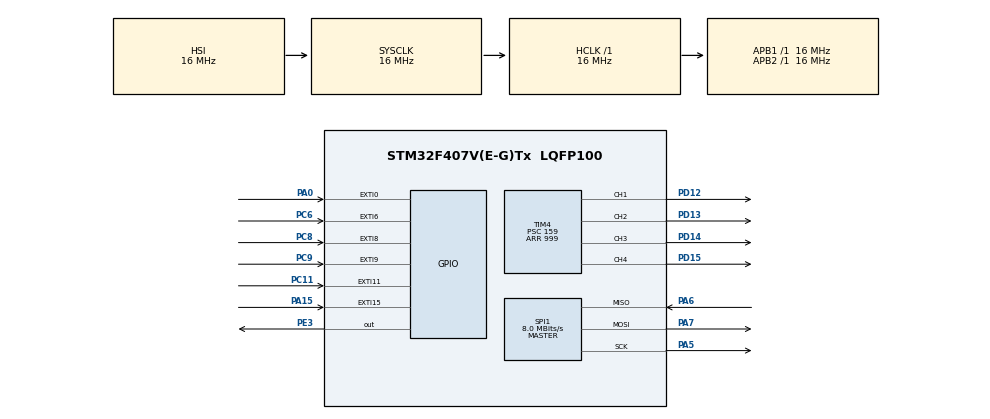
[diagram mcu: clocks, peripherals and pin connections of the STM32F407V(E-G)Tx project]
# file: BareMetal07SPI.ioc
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Mcu.Family=STM32F4
Mcu.Name=STM32F407V(E-G)Tx
Mcu.Package=LQFP100
NVIC.EXTI0_IRQn=true\:0\:0\:false\:false\:true\:true\:true\:true
NVIC.EXTI15_10_IRQn=true\:0\:0\:false\:false\:true\:true\:true\:true
NVIC.EXTI9_5_IRQn=true\:0\:0\:false\:false\:true\:true\:true\:true
NVIC.PriorityGroup=NVIC_PRIORITYGROUP_4
PA0-WKUP.GPIO_PuPd=GPIO_NOPULL
PA0-WKUP.Signal=GPXTI0
PA13.Mode=Serial_Wire
PA13.Signal=SYS_JTMS-SWDIO
PA14.Mode=Serial_Wire
PA14.Signal=SYS_JTCK-SWCLK
PA15.GPIO_PuPd=GPIO_NOPULL
PA15.Signal=GPXTI15
PA5.Mode=Full_Duplex_Master
PA5.Signal=SPI1_SCK
PA6.Mode=Full_Duplex_Master
PA6.Signal=SPI1_MISO
PA7.Mode=Full_Duplex_Master
PA7.Signal=SPI1_MOSI
PC11.GPIO_PuPd=GPIO_NOPULL
PC11.Signal=GPXTI11
PC6.GPIO_PuPd=GPIO_NOPULL
PC6.Signal=GPXTI6
PC8.GPIO_PuPd=GPIO_NOPULL
PC8.Signal=GPXTI8
PC9.GPIO_PuPd=GPIO_NOPULL
PC9.Signal=GPXTI9
PD12.Signal=S_TIM4_CH1
PD13.Signal=S_TIM4_CH2
PD14.Signal=S_TIM4_CH3
PD15.Signal=S_TIM4_CH4
PE3.PinState=GPIO_PIN_SET
PE3.Signal=GPIO_Output
ProjectManager.HeapSize=0x200
ProjectManager.StackSize=0x400
ProjectManager.TargetToolchain=STM32CubeIDE
RCC.AHBFreq_Value=16000000
RCC.APB1Freq_Value=16000000
RCC.APB2Freq_Value=16000000
RCC.CortexFreq_Value=16000000
RCC.HSE_VALUE=25000000
RCC.HSI_VALUE=16000000
RCC.LSE_VALUE=32768
RCC.SYSCLKFreq_VALUE=16000000
RCC.VCOOutputFreq_Value=192000000
SH.S_TIM4_CH1.0=TIM4_CH1,PWM Generation1 CH1
SH.S_TIM4_CH2.0=TIM4_CH2,PWM Generation2 CH2
SH.S_TIM4_CH3.0=TIM4_CH3,PWM Generation3 CH3
SH.S_TIM4_CH4.0=TIM4_CH4,PWM Generation4 CH4
SPI1.CalculateBaudRate=8.0 MBits/s
SPI1.Direction=SPI_DIRECTION_2LINES
SPI1.Mode=SPI_MODE_MASTER
SPI1.VirtualType=VM_MASTER
TIM1.Period=999
TIM1.Prescaler=159
TIM4.Channel-PWM\ Generation1\ CH1=TIM_CHANNEL_1
TIM4.Channel-PWM\ Generation2\ CH2=TIM_CHANNEL_2
TIM4.Channel-PWM\ Generation3\ CH3=TIM_CHANNEL_3
TIM4.Channel-PWM\ Generation4\ CH4=TIM_CHANNEL_4
TIM4.Period=999
TIM4.Prescaler=159
VP_TIM1_VS_ClockSourceINT.Mode=Internal
VP_TIM4_VS_ClockSourceINT.Mode=Internal
board=custom

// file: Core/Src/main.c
/* USER CODE BEGIN Header */
/**
  ******************************************************************************
  * @file           : main.c
  * @brief          : Main program body
  ******************************************************************************
  * @attention
  *
  * Copyright (c) 2026 STMicroelectronics.
  * All rights reserved.
  *
  * This software is licensed under terms that can be found in the LICENSE file
  * in the root directory of this software component.
  * If no LICENSE file comes with this software, it is provided AS-IS.
  *
  ******************************************************************************
  */
/* USER CODE END Header */
#include "main.h"

/* USER CODE BEGIN Includes */

#include "lis3dsh.h"

/* USER CODE END Includes */

SPI_HandleTypeDef hspi1;

TIM_HandleTypeDef htim1;
TIM_HandleTypeDef htim4;

void SystemClock_Config(void);
static void MX_GPIO_Init(void);
static void MX_SPI1_Init(void);
static void MX_TIM1_Init(void);
static void MX_TIM4_Init(void);

int main(void)
{

  /* MCU Configuration--------------------------------------------------------*/

  /* Reset of all peripherals, Initializes the Flash interface and the Systick. */
  HAL_Init();

  /* Configure the system clock */
  SystemClock_Config();

  /* Initialize all configured peripherals */
  MX_GPIO_Init();
  MX_SPI1_Init();
  MX_TIM1_Init();
  MX_TIM4_Init();
  /* USER CODE BEGIN 2 */

  LIS3DSH_Init(&hspi1);

  int16_t x, y, z; // not unsigned uint, because the LIS3DSH range seems to be [-2g, 2g] (if I'm understanding +/-2g in the data sheet correctly)

  uint16_t threshold = 2000, deadzone = 200; // completely arbitrary
  int16_t turn_on_boundary = threshold + deadzone, turn_off_boundary = threshold - deadzone; // helpers

  int16_t max_tilt = 16000; // roughly 1g
  float tilt_amount, tilt_range, led_min = 10, led_max = 1000; // 1-1000 (actually 0-999) is set in the .ioc
  uint16_t pwm_value;

  HAL_TIM_PWM_Start(&htim4, TIM_CHANNEL_1); // green / left (PD12)
  HAL_TIM_PWM_Start(&htim4, TIM_CHANNEL_2); // orange / up (PD13)
  HAL_TIM_PWM_Start(&htim4, TIM_CHANNEL_3); // red / right (PD14)
  HAL_TIM_PWM_Start(&htim4, TIM_CHANNEL_4); // blue / down (PD15)

  /* USER CODE END 2 */

  /* Infinite loop */
  /* USER CODE BEGIN WHILE */
  while (1)
  {
	  // Everything's being done in the while loop, because the assignment specified "Continuously read the raw X-axis and Y-axis acceleration data"
	  // but this definitely could be done through interrupts instead of polling like this
	  LIS3DSH_ReadXYZ(&x, &y, &z);

	  // if these needed to be turned into exact angles rather than values, then I looked through these 2 threads that seemed very informative
	  // https://forum.arduino.cc/t/sensing-tilt-using-accelerometer-alone/135717/6
	  // https://stackoverflow.com/questions/72946477/trigonometry-calculate-tilt-angle-from-accelerometer-data
	  // but it doesn't seem like that's necessary for this assignment, and would just add a bunch of additional complexity

	  // --- Left - Right

	  // only changes state if it goes far enough over the threshold (to avoid flickering back and forth)
	  if (x > turn_on_boundary) {
		  tilt_amount = (float)(x - turn_on_boundary);
		  tilt_range = (float)(max_tilt - turn_on_boundary);

		  // map the tilt to brightness as a percentage
		  pwm_value = led_min + (uint32_t)((tilt_amount / tilt_range) * (led_max - led_min));

		  // cap at the max
		  if (pwm_value > led_max) pwm_value = led_max;

		  __HAL_TIM_SET_COMPARE(&htim4, TIM_CHANNEL_3, pwm_value); // set brightness
	  } else if (x < turn_off_boundary) {
		  __HAL_TIM_SET_COMPARE(&htim4, TIM_CHANNEL_3, 0); // disable completely
      }

	  if (x < -turn_on_boundary) {
		// same as above, but with signs flipped, since X is negative here
		tilt_amount = (float)(-(x) - turn_on_boundary);
		tilt_range = (float)(max_tilt - turn_on_boundary);

		pwm_value = led_min + (uint32_t)((tilt_amount / tilt_range) * (led_max - led_min));
		if (pwm_value > led_max) pwm_value = led_max;

		__HAL_TIM_SET_COMPARE(&htim4, TIM_CHANNEL_1, pwm_value);
	  } else if (x > -turn_off_boundary) {
		__HAL_TIM_SET_COMPARE(&htim4, TIM_CHANNEL_1, 0);
	  }

	  // --- Up - Down

	  if (y > turn_on_boundary) {
		 tilt_amount = (float)(y - turn_on_boundary);
		 tilt_range = (float)(max_tilt - turn_on_boundary);

		 pwm_value = led_min + (uint32_t)((tilt_amount / tilt_range) * (led_max - led_min));

		 if (pwm_value > led_max) pwm_value = led_max;

		 __HAL_TIM_SET_COMPARE(&htim4, TIM_CHANNEL_2, pwm_value);
	  } else if (y < turn_off_boundary) {
		 __HAL_TIM_SET_COMPARE(&htim4, TIM_CHANNEL_2, 0);
	  }

	  if (y < -turn_on_boundary) {
		tilt_amount = (float)(-(y) - turn_on_boundary);
		tilt_range = (float)(max_tilt - turn_on_boundary);

		pwm_value = led_min + (uint32_t)((tilt_amount / tilt_range) * (led_max - led_min));
		if (pwm_value > led_max) pwm_value = led_max;

		__HAL_TIM_SET_COMPARE(&htim4, TIM_CHANNEL_4, pwm_value);
	  } else if (y > -turn_off_boundary) {
		__HAL_TIM_SET_COMPARE(&htim4, TIM_CHANNEL_4, 0);
	  }

	  HAL_Delay(20); // small delay so that the program isn't just polling SPI a billion times a second

	  // I *think* that instead of the timers, changing the LED brightness *could* be just done with delays / periodically turning them on/off
	  // but since we're also supposed to be reading the accelerometer data in the while loop, that wouldn't really fly
	  // since we don't want that to stop
	  // but if the accelerometer data was on interrupts, then idk maybe that would be doable
	  // though, again, that's just how I interpreted the assignment

	  // remembering the last on/off time for each LED and toggling them that way could maybe work, but would be crazy inaccurate

    /* USER CODE END WHILE */

  }
}

void SystemClock_Config(void)
{
  RCC_OscInitTypeDef RCC_OscInitStruct = {0};
  RCC_ClkInitTypeDef RCC_ClkInitStruct = {0};

  /** Configure the main internal regulator output voltage
  */
  __HAL_RCC_PWR_CLK_ENABLE();
  __HAL_PWR_VOLTAGESCALING_CONFIG(PWR_REGULATOR_VOLTAGE_SCALE1);

  /** Initializes the RCC Oscillators according to the specified parameters
  * in the RCC_OscInitTypeDef structure.
  */
  RCC_OscInitStruct.OscillatorType = RCC_OSCILLATORTYPE_HSI;
  RCC_OscInitStruct.HSIState = RCC_HSI_ON;
  RCC_OscInitStruct.HSICalibrationValue = RCC_HSICALIBRATION_DEFAULT;
  RCC_OscInitStruct.PLL.PLLState = RCC_PLL_NONE;
  if (HAL_RCC_OscConfig(&RCC_OscInitStruct) != HAL_OK)
  {
    Error_Handler();
  }

  /** Initializes the CPU, AHB and APB buses clocks
  */
  RCC_ClkInitStruct.ClockType = RCC_CLOCKTYPE_HCLK|RCC_CLOCKTYPE_SYSCLK
                              |RCC_CLOCKTYPE_PCLK1|RCC_CLOCKTYPE_PCLK2;
  RCC_ClkInitStruct.SYSCLKSource = RCC_SYSCLKSOURCE_HSI;
  RCC_ClkInitStruct.AHBCLKDivider = RCC_SYSCLK_DIV1;
  RCC_ClkInitStruct.APB1CLKDivider = RCC_HCLK_DIV1;
  RCC_ClkInitStruct.APB2CLKDivider = RCC_HCLK_DIV1;

  if (HAL_RCC_ClockConfig(&RCC_ClkInitStruct, FLASH_LATENCY_0) != HAL_OK)
  {
    Error_Handler();
  }
}

static void MX_SPI1_Init(void)
{

  /* SPI1 parameter configuration*/
  hspi1.Instance = SPI1;
  hspi1.Init.Mode = SPI_MODE_MASTER;
  hspi1.Init.Direction = SPI_DIRECTION_2LINES;
  hspi1.Init.DataSize = SPI_DATASIZE_8BIT;
  hspi1.Init.CLKPolarity = SPI_POLARITY_LOW;
  hspi1.Init.CLKPhase = SPI_PHASE_1EDGE;
  hspi1.Init.NSS = SPI_NSS_SOFT;
  hspi1.Init.BaudRatePrescaler = SPI_BAUDRATEPRESCALER_2;
  hspi1.Init.FirstBit = SPI_FIRSTBIT_MSB;
  hspi1.Init.TIMode = SPI_TIMODE_DISABLE;
  hspi1.Init.CRCCalculation = SPI_CRCCALCULATION_DISABLE;
  hspi1.Init.CRCPolynomial = 10;
  if (HAL_SPI_Init(&hspi1) != HAL_OK)
  {
    Error_Handler();
  }

}

static void MX_TIM1_Init(void)
{

  TIM_ClockConfigTypeDef sClockSourceConfig = {0};
  TIM_MasterConfigTypeDef sMasterConfig = {0};

  htim1.Instance = TIM1;
  htim1.Init.Prescaler = 159;
  htim1.Init.CounterMode = TIM_COUNTERMODE_UP;
  htim1.Init.Period = 999;
  htim1.Init.ClockDivision = TIM_CLOCKDIVISION_DIV1;
  htim1.Init.RepetitionCounter = 0;
  htim1.Init.AutoReloadPreload = TIM_AUTORELOAD_PRELOAD_DISABLE;
  if (HAL_TIM_Base_Init(&htim1) != HAL_OK)
  {
    Error_Handler();
  }
  sClockSourceConfig.ClockSource = TIM_CLOCKSOURCE_INTERNAL;
  if (HAL_TIM_ConfigClockSource(&htim1, &sClockSourceConfig) != HAL_OK)
  {
    Error_Handler();
  }
  sMasterConfig.MasterOutputTrigger = TIM_TRGO_RESET;
  sMasterConfig.MasterSlaveMode = TIM_MASTERSLAVEMODE_DISABLE;
  if (HAL_TIMEx_MasterConfigSynchronization(&htim1, &sMasterConfig) != HAL_OK)
  {
    Error_Handler();
  }

}

static void MX_TIM4_Init(void)
{

  TIM_ClockConfigTypeDef sClockSourceConfig = {0};
  TIM_MasterConfigTypeDef sMasterConfig = {0};
  TIM_OC_InitTypeDef sConfigOC = {0};

  htim4.Instance = TIM4;
  htim4.Init.Prescaler = 159;
  htim4.Init.CounterMode = TIM_COUNTERMODE_UP;
  htim4.Init.Period = 999;
  htim4.Init.ClockDivision = TIM_CLOCKDIVISION_DIV1;
  htim4.Init.AutoReloadPreload = TIM_AUTORELOAD_PRELOAD_DISABLE;
  if (HAL_TIM_Base_Init(&htim4) != HAL_OK)
  {
    Error_Handler();
  }
  sClockSourceConfig.ClockSource = TIM_CLOCKSOURCE_INTERNAL;
  if (HAL_TIM_ConfigClockSource(&htim4, &sClockSourceConfig) != HAL_OK)
  {
    Error_Handler();
  }
  if (HAL_TIM_PWM_Init(&htim4) != HAL_OK)
  {
    Error_Handler();
  }
  sMasterConfig.MasterOutputTrigger = TIM_TRGO_RESET;
  sMasterConfig.MasterSlaveMode = TIM_MASTERSLAVEMODE_DISABLE;
  if (HAL_TIMEx_MasterConfigSynchronization(&htim4, &sMasterConfig) != HAL_OK)
  {
    Error_Handler();
  }
  sConfigOC.OCMode = TIM_OCMODE_PWM1;
  sConfigOC.Pulse = 0;
  sConfigOC.OCPolarity = TIM_OCPOLARITY_HIGH;
  sConfigOC.OCFastMode = TIM_OCFAST_DISABLE;
  if (HAL_TIM_PWM_ConfigChannel(&htim4, &sConfigOC, TIM_CHANNEL_1) != HAL_OK)
  {
    Error_Handler();
  }
  if (HAL_TIM_PWM_ConfigChannel(&htim4, &sConfigOC, TIM_CHANNEL_2) != HAL_OK)
  {
    Error_Handler();
  }
  if (HAL_TIM_PWM_ConfigChannel(&htim4, &sConfigOC, TIM_CHANNEL_3) != HAL_OK)
  {
    Error_Handler();
  }
  if (HAL_TIM_PWM_ConfigChannel(&htim4, &sConfigOC, TIM_CHANNEL_4) != HAL_OK)
  {
    Error_Handler();
  }
  HAL_TIM_MspPostInit(&htim4);

}

static void MX_GPIO_Init(void)
{
  GPIO_InitTypeDef GPIO_InitStruct = {0};

  /* GPIO Ports Clock Enable */
  __HAL_RCC_GPIOE_CLK_ENABLE();
  __HAL_RCC_GPIOA_CLK_ENABLE();
  __HAL_RCC_GPIOD_CLK_ENABLE();
  __HAL_RCC_GPIOC_CLK_ENABLE();

  /*Configure GPIO pin Output Level */
  HAL_GPIO_WritePin(GPIOE, GPIO_PIN_3, GPIO_PIN_SET);

  /*Configure GPIO pin : PE3 */
  GPIO_InitStruct.Pin = GPIO_PIN_3;
  GPIO_InitStruct.Mode = GPIO_MODE_OUTPUT_PP;
  GPIO_InitStruct.Pull = GPIO_NOPULL;
  GPIO_InitStruct.Speed = GPIO_SPEED_FREQ_LOW;
  HAL_GPIO_Init(GPIOE, &GPIO_InitStruct);

  /*Configure GPIO pins : PA0 PA15 */
  GPIO_InitStruct.Pin = GPIO_PIN_0|GPIO_PIN_15;
  GPIO_InitStruct.Mode = GPIO_MODE_IT_RISING;
  GPIO_InitStruct.Pull = GPIO_NOPULL;
  HAL_GPIO_Init(GPIOA, &GPIO_InitStruct);

  /*Configure GPIO pins : PC6 PC8 PC9 PC11 */
  GPIO_InitStruct.Pin = GPIO_PIN_6|GPIO_PIN_8|GPIO_PIN_9|GPIO_PIN_11;
  GPIO_InitStruct.Mode = GPIO_MODE_IT_RISING;
  GPIO_InitStruct.Pull = GPIO_NOPULL;
  HAL_GPIO_Init(GPIOC, &GPIO_InitStruct);

  /* EXTI interrupt init*/
  HAL_NVIC_SetPriority(EXTI0_IRQn, 0, 0);
  HAL_NVIC_EnableIRQ(EXTI0_IRQn);

  HAL_NVIC_SetPriority(EXTI9_5_IRQn, 0, 0);
  HAL_NVIC_EnableIRQ(EXTI9_5_IRQn);

  HAL_NVIC_SetPriority(EXTI15_10_IRQn, 0, 0);
  HAL_NVIC_EnableIRQ(EXTI15_10_IRQn);

}

void Error_Handler(void)
{
  __disable_irq();
  while (1)
  {
  }
}
